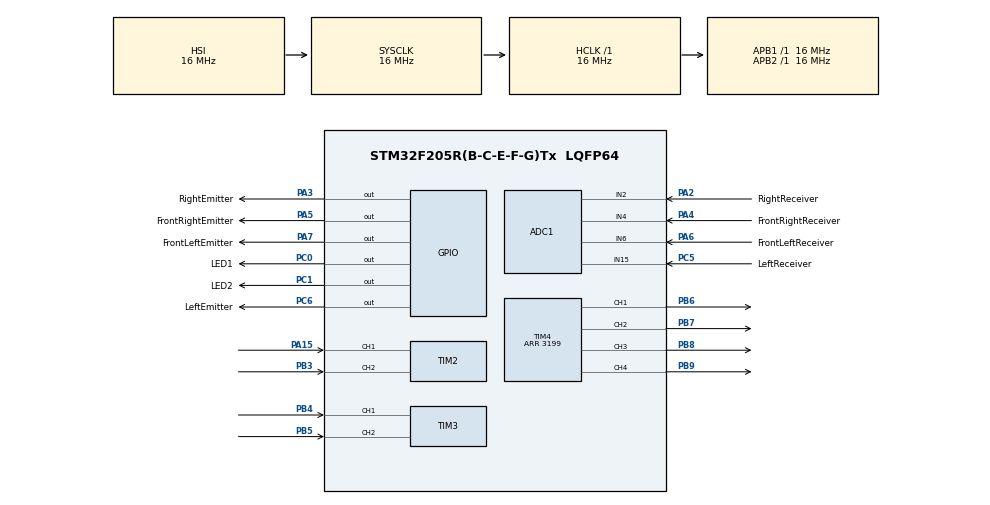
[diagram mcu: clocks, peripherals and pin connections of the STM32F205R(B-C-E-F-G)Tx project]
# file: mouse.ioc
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ADC1.Channel-0\#ChannelRegularConversion=ADC_CHANNEL_2
ADC1.ContinuousConvMode=ENABLE
ADC1.NbrOfConversionFlag=1
ADC1.Rank-0\#ChannelRegularConversion=1
ADC1.SamplingTime-0\#ChannelRegularConversion=ADC_SAMPLETIME_3CYCLES
ADC1.master=1
Dma.ADC1.0.Direction=DMA_PERIPH_TO_MEMORY
Dma.ADC1.0.FIFOMode=DMA_FIFOMODE_DISABLE
Dma.ADC1.0.Instance=DMA2_Stream0
Dma.ADC1.0.MemDataAlignment=DMA_MDATAALIGN_HALFWORD
Dma.ADC1.0.MemInc=DMA_MINC_ENABLE
Dma.ADC1.0.Mode=DMA_CIRCULAR
Dma.ADC1.0.PeriphDataAlignment=DMA_PDATAALIGN_HALFWORD
Dma.ADC1.0.PeriphInc=DMA_PINC_DISABLE
Dma.ADC1.0.Priority=DMA_PRIORITY_LOW
Dma.Request0=ADC1
Mcu.Family=STM32F2
Mcu.Name=STM32F205R(B-C-E-F-G)Tx
Mcu.Package=LQFP64
NVIC.DMA2_Stream0_IRQn=true\:0\:0\:false\:false\:true\:false\:true
NVIC.PriorityGroup=NVIC_PRIORITYGROUP_4
NVIC.TIM4_IRQn=true\:0\:0\:false\:false\:true\:true\:true
PA15.Signal=S_TIM2_CH1_ETR
PA2.GPIO_Label=RightReceiver
PA2.Signal=ADCx_IN2
PA3.GPIO_Label=RightEmitter
PA3.Signal=GPIO_Output
PA4.GPIO_Label=FrontRightReceiver
PA4.Signal=ADCx_IN4
PA5.GPIO_Label=FrontRightEmitter
PA5.Signal=GPIO_Output
PA6.GPIO_Label=FrontLeftReceiver
PA6.Signal=ADCx_IN6
PA7.GPIO_Label=FrontLeftEmitter
PA7.Signal=GPIO_Output
PB3.Signal=S_TIM2_CH2
PB4.Signal=S_TIM3_CH1
PB5.Signal=S_TIM3_CH2
PB6.Signal=S_TIM4_CH1
PB7.Signal=S_TIM4_CH2
PB8.Signal=S_TIM4_CH3
PB9.Signal=S_TIM4_CH4
PC0.GPIO_Label=LED1
PC0.Signal=GPIO_Output
PC1.GPIO_Label=LED2
PC1.Signal=GPIO_Output
PC5.GPIO_Label=LeftReceiver
PC5.Signal=ADCx_IN15
PC6.GPIO_Label=LeftEmitter
PC6.Signal=GPIO_Output
ProjectManager.HeapSize=0x200
ProjectManager.StackSize=0x400
ProjectManager.TargetToolchain=STM32CubeIDE
RCC.48MHZClocksFreq_Value=48000000
RCC.AHBFreq_Value=16000000
RCC.APB1Freq_Value=16000000
RCC.APB2Freq_Value=16000000
RCC.CortexFreq_Value=16000000
RCC.HSE_VALUE=25000000
RCC.HSI_VALUE=16000000
RCC.LSE_VALUE=32768
RCC.SYSCLKFreq_VALUE=16000000
RCC.VCOOutputFreq_Value=192000000
SH.ADCx_IN15.0=ADC1_IN15,IN15
SH.ADCx_IN2.0=ADC1_IN2,IN2
SH.ADCx_IN4.0=ADC1_IN4,IN4
SH.ADCx_IN6.0=ADC1_IN6,IN6
SH.S_TIM2_CH1_ETR.0=TIM2_CH1,Encoder_Interface
SH.S_TIM2_CH2.0=TIM2_CH2,Encoder_Interface
SH.S_TIM3_CH1.0=TIM3_CH1,Encoder_Interface
SH.S_TIM3_CH2.0=TIM3_CH2,Encoder_Interface
SH.S_TIM4_CH1.0=TIM4_CH1,PWM Generation1 CH1
SH.S_TIM4_CH2.0=TIM4_CH2,PWM Generation2 CH2
SH.S_TIM4_CH3.0=TIM4_CH3,PWM Generation3 CH3
SH.S_TIM4_CH4.0=TIM4_CH4,PWM Generation4 CH4
TIM2.EncoderMode=TIM_ENCODERMODE_TI12
TIM3.EncoderMode=TIM_ENCODERMODE_TI12
TIM4.Channel-PWM\ Generation1\ CH1=TIM_CHANNEL_1
TIM4.Channel-PWM\ Generation2\ CH2=TIM_CHANNEL_2
TIM4.Channel-PWM\ Generation3\ CH3=TIM_CHANNEL_3
TIM4.Channel-PWM\ Generation4\ CH4=TIM_CHANNEL_4
TIM4.Period=3199
board=custom

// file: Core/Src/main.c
/* USER CODE BEGIN Header */
/**
  ******************************************************************************
  * @file           : main.c
  * @brief          : Main program body
  ******************************************************************************
  * @attention
  *
  * <h2><center>&copy; Copyright (c) 2022 STMicroelectronics.
  * All rights reserved.</center></h2>
  *
  * This software component is licensed by ST under BSD 3-Clause license,
  * the "License"; You may not use this file except in compliance with the
  * License. You may obtain a copy of the License at:
  *                        opensource.org/licenses/BSD-3-Clause
  *
  ******************************************************************************
  */
/* USER CODE END Header */
#include "main.h"

/* USER CODE BEGIN Includes */
#include "delay.h"
#include "irs.h"
/* USER CODE END Includes */

ADC_HandleTypeDef hadc1;
DMA_HandleTypeDef hdma_adc1;

TIM_HandleTypeDef htim2;
TIM_HandleTypeDef htim3;
TIM_HandleTypeDef htim4;

/* USER CODE BEGIN PV */
int16_t left_counts = 0;
int16_t right_counts = 0;

int16_t left_IR;
int16_t right_IR;
int16_t fleft_IR;
int16_t fright_IR;
/* USER CODE END PV */

void SystemClock_Config(void);
static void MX_GPIO_Init(void);
static void MX_TIM3_Init(void);
static void MX_TIM2_Init(void);
static void MX_DMA_Init(void);
static void MX_ADC1_Init(void);
static void MX_TIM4_Init(void);

int main(void)
{

  /* MCU Configuration--------------------------------------------------------*/

  /* Reset of all peripherals, Initializes the Flash interface and the Systick. */
  HAL_Init();

  /* USER CODE BEGIN Init */
  Delay_Init();
  /* USER CODE END Init */

  /* Configure the system clock */
  SystemClock_Config();

  /* Initialize all configured peripherals */
  MX_GPIO_Init();
  MX_TIM3_Init();
  MX_TIM2_Init();
  MX_DMA_Init();
  MX_ADC1_Init();
  MX_TIM4_Init();
  /* USER CODE BEGIN 2 */
  HAL_TIM_Encoder_Start(&htim2, TIM_CHANNEL_ALL);
  HAL_TIM_Encoder_Start(&htim3, TIM_CHANNEL_ALL);
  HAL_TIM_PWM_Start(&htim4, TIM_CHANNEL_1);
  HAL_TIM_PWM_Start(&htim4, TIM_CHANNEL_2);
  HAL_TIM_PWM_Start(&htim4, TIM_CHANNEL_3);
  HAL_TIM_PWM_Start(&htim4, TIM_CHANNEL_4);

  resetPID();

  HAL_GPIO_WritePin(GPIOC, LED1_Pin, GPIO_PIN_SET);
//  move(1);
//  move(1);
//  move(1);
//  move(1);
//  turn(1);
//  turn(1);
//  move(1);
//  move(2);
//  move(1);
  /* USER CODE END 2 */

  /* Infinite loop */
  while (1)
  {

    /* USER CODE BEGIN 3 */
	delayMicroseconds(5);
	left_counts = getLeftEncoderCounts();
	right_counts = getRightEncoderCounts();
	left_IR = readLeftIR();
	right_IR = readRightIR();
	fleft_IR = readFrontLeftIR();
	fright_IR = readFrontRightIR();
  }
  /* USER CODE END 3 */
}

void SystemClock_Config(void)
{
  RCC_OscInitTypeDef RCC_OscInitStruct = {0};
  RCC_ClkInitTypeDef RCC_ClkInitStruct = {0};

  /** Initializes the RCC Oscillators according to the specified parameters
  * in the RCC_OscInitTypeDef structure.
  */
  RCC_OscInitStruct.OscillatorType = RCC_OSCILLATORTYPE_HSI;
  RCC_OscInitStruct.HSIState = RCC_HSI_ON;
  RCC_OscInitStruct.HSICalibrationValue = RCC_HSICALIBRATION_DEFAULT;
  RCC_OscInitStruct.PLL.PLLState = RCC_PLL_NONE;
  if (HAL_RCC_OscConfig(&RCC_OscInitStruct) != HAL_OK)
  {
    Error_Handler();
  }
  /** Initializes the CPU, AHB and APB buses clocks
  */
  RCC_ClkInitStruct.ClockType = RCC_CLOCKTYPE_HCLK|RCC_CLOCKTYPE_SYSCLK
                              |RCC_CLOCKTYPE_PCLK1|RCC_CLOCKTYPE_PCLK2;
  RCC_ClkInitStruct.SYSCLKSource = RCC_SYSCLKSOURCE_HSI;
  RCC_ClkInitStruct.AHBCLKDivider = RCC_SYSCLK_DIV1;
  RCC_ClkInitStruct.APB1CLKDivider = RCC_HCLK_DIV1;
  RCC_ClkInitStruct.APB2CLKDivider = RCC_HCLK_DIV1;

  if (HAL_RCC_ClockConfig(&RCC_ClkInitStruct, FLASH_LATENCY_0) != HAL_OK)
  {
    Error_Handler();
  }
}

static void MX_ADC1_Init(void)
{

  ADC_ChannelConfTypeDef sConfig = {0};

  /** Configure the global features of the ADC (Clock, Resolution, Data Alignment and number of conversion)
  */
  hadc1.Instance = ADC1;
  hadc1.Init.ClockPrescaler = ADC_CLOCK_SYNC_PCLK_DIV2;
  hadc1.Init.Resolution = ADC_RESOLUTION_12B;
  hadc1.Init.ScanConvMode = DISABLE;
  hadc1.Init.ContinuousConvMode = ENABLE;
  hadc1.Init.DiscontinuousConvMode = DISABLE;
  hadc1.Init.ExternalTrigConvEdge = ADC_EXTERNALTRIGCONVEDGE_NONE;
  hadc1.Init.ExternalTrigConv = ADC_SOFTWARE_START;
  hadc1.Init.DataAlign = ADC_DATAALIGN_RIGHT;
  hadc1.Init.NbrOfConversion = 1;
  hadc1.Init.DMAContinuousRequests = DISABLE;
  hadc1.Init.EOCSelection = ADC_EOC_SINGLE_CONV;
  if (HAL_ADC_Init(&hadc1) != HAL_OK)
  {
    Error_Handler();
  }
  /** Configure for the selected ADC regular channel its corresponding rank in the sequencer and its sample time.
  */
  sConfig.Channel = ADC_CHANNEL_2;
  sConfig.Rank = 1;
  sConfig.SamplingTime = ADC_SAMPLETIME_3CYCLES;
  if (HAL_ADC_ConfigChannel(&hadc1, &sConfig) != HAL_OK)
  {
    Error_Handler();
  }

}

static void MX_TIM2_Init(void)
{

  TIM_Encoder_InitTypeDef sConfig = {0};
  TIM_MasterConfigTypeDef sMasterConfig = {0};

  htim2.Instance = TIM2;
  htim2.Init.Prescaler = 0;
  htim2.Init.CounterMode = TIM_COUNTERMODE_UP;
  htim2.Init.Period = 4294967295;
  htim2.Init.ClockDivision = TIM_CLOCKDIVISION_DIV1;
  htim2.Init.AutoReloadPreload = TIM_AUTORELOAD_PRELOAD_DISABLE;
  sConfig.EncoderMode = TIM_ENCODERMODE_TI12;
  sConfig.IC1Polarity = TIM_ICPOLARITY_RISING;
  sConfig.IC1Selection = TIM_ICSELECTION_DIRECTTI;
  sConfig.IC1Prescaler = TIM_ICPSC_DIV1;
  sConfig.IC1Filter = 0;
  sConfig.IC2Polarity = TIM_ICPOLARITY_RISING;
  sConfig.IC2Selection = TIM_ICSELECTION_DIRECTTI;
  sConfig.IC2Prescaler = TIM_ICPSC_DIV1;
  sConfig.IC2Filter = 0;
  if (HAL_TIM_Encoder_Init(&htim2, &sConfig) != HAL_OK)
  {
    Error_Handler();
  }
  sMasterConfig.MasterOutputTrigger = TIM_TRGO_RESET;
  sMasterConfig.MasterSlaveMode = TIM_MASTERSLAVEMODE_DISABLE;
  if (HAL_TIMEx_MasterConfigSynchronization(&htim2, &sMasterConfig) != HAL_OK)
  {
    Error_Handler();
  }

}

static void MX_TIM3_Init(void)
{

  TIM_Encoder_InitTypeDef sConfig = {0};
  TIM_MasterConfigTypeDef sMasterConfig = {0};

  htim3.Instance = TIM3;
  htim3.Init.Prescaler = 0;
  htim3.Init.CounterMode = TIM_COUNTERMODE_UP;
  htim3.Init.Period = 65535;
  htim3.Init.ClockDivision = TIM_CLOCKDIVISION_DIV1;
  htim3.Init.AutoReloadPreload = TIM_AUTORELOAD_PRELOAD_DISABLE;
  sConfig.EncoderMode = TIM_ENCODERMODE_TI12;
  sConfig.IC1Polarity = TIM_ICPOLARITY_RISING;
  sConfig.IC1Selection = TIM_ICSELECTION_DIRECTTI;
  sConfig.IC1Prescaler = TIM_ICPSC_DIV1;
  sConfig.IC1Filter = 0;
  sConfig.IC2Polarity = TIM_ICPOLARITY_RISING;
  sConfig.IC2Selection = TIM_ICSELECTION_DIRECTTI;
  sConfig.IC2Prescaler = TIM_ICPSC_DIV1;
  sConfig.IC2Filter = 0;
  if (HAL_TIM_Encoder_Init(&htim3, &sConfig) != HAL_OK)
  {
    Error_Handler();
  }
  sMasterConfig.MasterOutputTrigger = TIM_TRGO_RESET;
  sMasterConfig.MasterSlaveMode = TIM_MASTERSLAVEMODE_DISABLE;
  if (HAL_TIMEx_MasterConfigSynchronization(&htim3, &sMasterConfig) != HAL_OK)
  {
    Error_Handler();
  }

}

static void MX_TIM4_Init(void)
{

  TIM_MasterConfigTypeDef sMasterConfig = {0};
  TIM_OC_InitTypeDef sConfigOC = {0};

  htim4.Instance = TIM4;
  htim4.Init.Prescaler = 0;
  htim4.Init.CounterMode = TIM_COUNTERMODE_UP;
  htim4.Init.Period = 3199;
  htim4.Init.ClockDivision = TIM_CLOCKDIVISION_DIV1;
  htim4.Init.AutoReloadPreload = TIM_AUTORELOAD_PRELOAD_DISABLE;
  if (HAL_TIM_PWM_Init(&htim4) != HAL_OK)
  {
    Error_Handler();
  }
  sMasterConfig.MasterOutputTrigger = TIM_TRGO_RESET;
  sMasterConfig.MasterSlaveMode = TIM_MASTERSLAVEMODE_DISABLE;
  if (HAL_TIMEx_MasterConfigSynchronization(&htim4, &sMasterConfig) != HAL_OK)
  {
    Error_Handler();
  }
  sConfigOC.OCMode = TIM_OCMODE_PWM1;
  sConfigOC.Pulse = 0;
  sConfigOC.OCPolarity = TIM_OCPOLARITY_HIGH;
  sConfigOC.OCFastMode = TIM_OCFAST_DISABLE;
  if (HAL_TIM_PWM_ConfigChannel(&htim4, &sConfigOC, TIM_CHANNEL_1) != HAL_OK)
  {
    Error_Handler();
  }
  if (HAL_TIM_PWM_ConfigChannel(&htim4, &sConfigOC, TIM_CHANNEL_2) != HAL_OK)
  {
    Error_Handler();
  }
  if (HAL_TIM_PWM_ConfigChannel(&htim4, &sConfigOC, TIM_CHANNEL_3) != HAL_OK)
  {
    Error_Handler();
  }
  if (HAL_TIM_PWM_ConfigChannel(&htim4, &sConfigOC, TIM_CHANNEL_4) != HAL_OK)
  {
    Error_Handler();
  }
  HAL_TIM_MspPostInit(&htim4);

}

static void MX_DMA_Init(void)
{

  /* DMA controller clock enable */
  __HAL_RCC_DMA2_CLK_ENABLE();

  /* DMA interrupt init */
  /* DMA2_Stream0_IRQn interrupt configuration */
  HAL_NVIC_SetPriority(DMA2_Stream0_IRQn, 0, 0);
  HAL_NVIC_EnableIRQ(DMA2_Stream0_IRQn);

}

static void MX_GPIO_Init(void)
{
  GPIO_InitTypeDef GPIO_InitStruct = {0};

  /* GPIO Ports Clock Enable */
  __HAL_RCC_GPIOC_CLK_ENABLE();
  __HAL_RCC_GPIOA_CLK_ENABLE();
  __HAL_RCC_GPIOB_CLK_ENABLE();

  /*Configure GPIO pin Output Level */
  HAL_GPIO_WritePin(GPIOC, LED1_Pin|LED2_Pin|LeftEmitter_Pin, GPIO_PIN_RESET);

  /*Configure GPIO pin Output Level */
  HAL_GPIO_WritePin(GPIOA, RightEmitter_Pin|FrontRightEmitter_Pin|FrontLeftEmitter_Pin, GPIO_PIN_RESET);

  /*Configure GPIO pins : LED1_Pin LED2_Pin LeftEmitter_Pin */
  GPIO_InitStruct.Pin = LED1_Pin|LED2_Pin|LeftEmitter_Pin;
  GPIO_InitStruct.Mode = GPIO_MODE_OUTPUT_PP;
  GPIO_InitStruct.Pull = GPIO_NOPULL;
  GPIO_InitStruct.Speed = GPIO_SPEED_FREQ_LOW;
  HAL_GPIO_Init(GPIOC, &GPIO_InitStruct);

  /*Configure GPIO pins : RightEmitter_Pin FrontRightEmitter_Pin FrontLeftEmitter_Pin */
  GPIO_InitStruct.Pin = RightEmitter_Pin|FrontRightEmitter_Pin|FrontLeftEmitter_Pin;
  GPIO_InitStruct.Mode = GPIO_MODE_OUTPUT_PP;
  GPIO_InitStruct.Pull = GPIO_NOPULL;
  GPIO_InitStruct.Speed = GPIO_SPEED_FREQ_LOW;
  HAL_GPIO_Init(GPIOA, &GPIO_InitStruct);

}

/* USER CODE BEGIN 4 */
ADC_HandleTypeDef* Get_HADC1_Ptr(void)
{
    return &hadc1;
}

void HAL_GPIO_EXTI_Callback(uint16_t GPIO_Pin)
{
//  if(GPIO_Pin == Button_Pin)
//  {
//       /* Your code goes here */
//  }
}
/* USER CODE END 4 */

void Error_Handler(void)
{
  __disable_irq();
  while (1)
  {
  }
}

/************************ (C) COPYRIGHT STMicroelectronics *****END OF FILE****/
